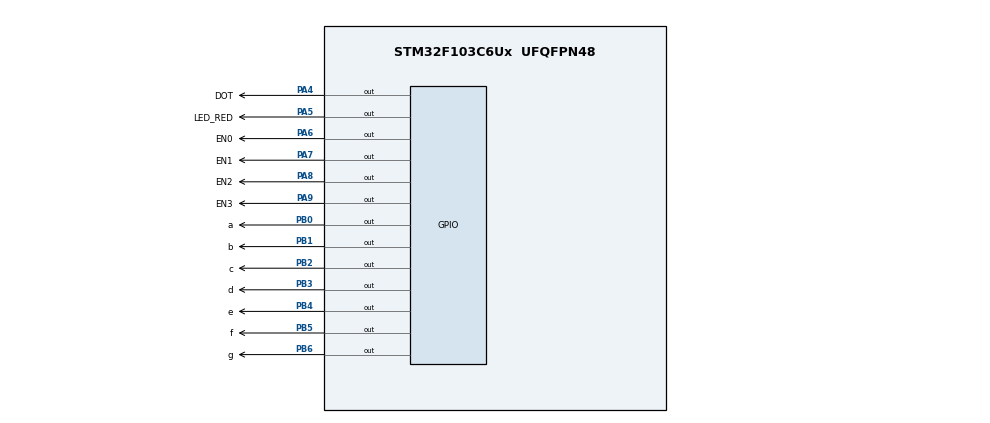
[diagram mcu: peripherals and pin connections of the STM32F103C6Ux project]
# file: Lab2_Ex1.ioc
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Mcu.Family=STM32F1
Mcu.Name=STM32F103C6Ux
Mcu.Package=UFQFPN48
NVIC.PriorityGroup=NVIC_PRIORITYGROUP_4
NVIC.TIM2_IRQn=true\:0\:0\:false\:false\:true\:true\:true\:true
PA4.GPIO_Label=DOT
PA4.Signal=GPIO_Output
PA5.GPIO_Label=LED_RED
PA5.Signal=GPIO_Output
PA6.GPIO_Label=EN0
PA6.Signal=GPIO_Output
PA7.GPIO_Label=EN1
PA7.Signal=GPIO_Output
PA8.GPIO_Label=EN2
PA8.Signal=GPIO_Output
PA9.GPIO_Label=EN3
PA9.Signal=GPIO_Output
PB0.GPIO_Label=a
PB0.Signal=GPIO_Output
PB1.GPIO_Label=b
PB1.Signal=GPIO_Output
PB2.GPIO_Label=c
PB2.Signal=GPIO_Output
PB3.GPIO_Label=d
PB3.Signal=GPIO_Output
PB4.GPIO_Label=e
PB4.Signal=GPIO_Output
PB5.GPIO_Label=f
PB5.Signal=GPIO_Output
PB6.GPIO_Label=g
PB6.Signal=GPIO_Output
ProjectManager.HeapSize=0x200
ProjectManager.StackSize=0x400
ProjectManager.TargetToolchain=STM32CubeIDE
RCC.APB1Freq_Value=8000000
RCC.APB2Freq_Value=8000000
TIM2.Period=9
TIM2.Prescaler=7999
VP_SYS_VS_ND.Mode=No_Debug
VP_TIM2_VS_ClockSourceINT.Mode=Internal
board=custom

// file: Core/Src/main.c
/* USER CODE BEGIN Header */
/**
  ******************************************************************************
  * @file           : main.c
  * @brief          : Main program body
  ******************************************************************************
  * @attention
  *
  * Copyright (c) 2024 STMicroelectronics.
  * All rights reserved.
  *
  * This software is licensed under terms that can be found in the LICENSE file
  * in the root directory of this software component.
  * If no LICENSE file comes with this software, it is provided AS-IS.
  *
  ******************************************************************************
  */
/* USER CODE END Header */
#include "main.h"

TIM_HandleTypeDef htim2;

void SystemClock_Config(void);
static void MX_GPIO_Init(void);
static void MX_TIM2_Init(void);

/* USER CODE BEGIN PFP */
int timer_flag[10];
int timer_counter[10];
void set_timer(int index, int counter)
{
	timer_flag[index] = 0;
	timer_counter[index] = counter/TICK;
}
void timer_run()
{
	for (int i = 0; i < 10; i++)
	{
		if (timer_counter[i] >= 0)
		{
			timer_counter[i]--;
			if (timer_counter[i] <= 0)
			{
				timer_flag[i] = 1;
			}
		}
	}
}
void timer_isr()
{
	timer_run();
}
void display7SEG(int num)
{
	if (num == 0)
	{
		HAL_GPIO_WritePin ( a_GPIO_Port , a_Pin ,GPIO_PIN_RESET ) ;
		HAL_GPIO_WritePin ( b_GPIO_Port , b_Pin ,GPIO_PIN_RESET ) ;
		HAL_GPIO_WritePin ( c_GPIO_Port , c_Pin ,GPIO_PIN_RESET ) ;
		HAL_GPIO_WritePin ( d_GPIO_Port , d_Pin ,GPIO_PIN_RESET ) ;
		HAL_GPIO_WritePin ( e_GPIO_Port , e_Pin ,GPIO_PIN_RESET ) ;
		HAL_GPIO_WritePin ( f_GPIO_Port , f_Pin ,GPIO_PIN_RESET ) ;
		HAL_GPIO_WritePin ( g_GPIO_Port , g_Pin ,GPIO_PIN_SET ) ;
	}
	if (num == 1)
	{
		HAL_GPIO_WritePin ( a_GPIO_Port , a_Pin ,GPIO_PIN_SET ) ;
		HAL_GPIO_WritePin ( b_GPIO_Port , b_Pin ,GPIO_PIN_RESET ) ;
		HAL_GPIO_WritePin ( c_GPIO_Port , c_Pin ,GPIO_PIN_RESET ) ;
		HAL_GPIO_WritePin ( d_GPIO_Port , d_Pin ,GPIO_PIN_SET ) ;
		HAL_GPIO_WritePin ( e_GPIO_Port , e_Pin ,GPIO_PIN_SET ) ;
		HAL_GPIO_WritePin ( f_GPIO_Port , f_Pin ,GPIO_PIN_SET ) ;
		HAL_GPIO_WritePin ( g_GPIO_Port , g_Pin ,GPIO_PIN_SET ) ;
	}
	if (num == 2)
	{
		HAL_GPIO_WritePin ( a_GPIO_Port , a_Pin ,GPIO_PIN_RESET ) ;
		HAL_GPIO_WritePin ( b_GPIO_Port , b_Pin ,GPIO_PIN_RESET ) ;
		HAL_GPIO_WritePin ( c_GPIO_Port , c_Pin ,GPIO_PIN_SET ) ;
		HAL_GPIO_WritePin ( d_GPIO_Port , d_Pin ,GPIO_PIN_RESET ) ;
		HAL_GPIO_WritePin ( e_GPIO_Port , e_Pin ,GPIO_PIN_RESET ) ;
		HAL_GPIO_WritePin ( f_GPIO_Port , f_Pin ,GPIO_PIN_SET ) ;
		HAL_GPIO_WritePin ( g_GPIO_Port , g_Pin ,GPIO_PIN_RESET ) ;
	}
	if (num == 3)
	{
		HAL_GPIO_WritePin ( a_GPIO_Port , a_Pin ,GPIO_PIN_RESET ) ;
		HAL_GPIO_WritePin ( b_GPIO_Port , b_Pin ,GPIO_PIN_RESET ) ;
		HAL_GPIO_WritePin ( c_GPIO_Port , c_Pin ,GPIO_PIN_RESET ) ;
		HAL_GPIO_WritePin ( d_GPIO_Port , d_Pin ,GPIO_PIN_RESET ) ;
		HAL_GPIO_WritePin ( e_GPIO_Port , e_Pin ,GPIO_PIN_SET ) ;
		HAL_GPIO_WritePin ( f_GPIO_Port , f_Pin ,GPIO_PIN_SET ) ;
		HAL_GPIO_WritePin ( g_GPIO_Port , g_Pin ,GPIO_PIN_RESET ) ;
	}
	if (num == 4)
	{
		HAL_GPIO_WritePin ( a_GPIO_Port , a_Pin ,GPIO_PIN_SET ) ;
		HAL_GPIO_WritePin ( b_GPIO_Port , b_Pin ,GPIO_PIN_RESET ) ;
		HAL_GPIO_WritePin ( c_GPIO_Port , c_Pin ,GPIO_PIN_RESET ) ;
		HAL_GPIO_WritePin ( d_GPIO_Port , d_Pin ,GPIO_PIN_SET ) ;
		HAL_GPIO_WritePin ( e_GPIO_Port , e_Pin ,GPIO_PIN_SET ) ;
		HAL_GPIO_WritePin ( f_GPIO_Port , f_Pin ,GPIO_PIN_RESET ) ;
		HAL_GPIO_WritePin ( g_GPIO_Port , g_Pin ,GPIO_PIN_RESET ) ;
	}
	if (num == 5)
	{
		HAL_GPIO_WritePin ( a_GPIO_Port , a_Pin ,GPIO_PIN_RESET ) ;
		HAL_GPIO_WritePin ( b_GPIO_Port , b_Pin ,GPIO_PIN_SET ) ;
		HAL_GPIO_WritePin ( c_GPIO_Port , c_Pin ,GPIO_PIN_RESET ) ;
		HAL_GPIO_WritePin ( d_GPIO_Port , d_Pin ,GPIO_PIN_RESET ) ;
		HAL_GPIO_WritePin ( e_GPIO_Port , e_Pin ,GPIO_PIN_SET ) ;
		HAL_GPIO_WritePin ( f_GPIO_Port , f_Pin ,GPIO_PIN_RESET ) ;
		HAL_GPIO_WritePin ( g_GPIO_Port , g_Pin ,GPIO_PIN_RESET ) ;
	}
	if (num == 6)
	{
		HAL_GPIO_WritePin ( a_GPIO_Port , a_Pin ,GPIO_PIN_RESET ) ;
		HAL_GPIO_WritePin ( b_GPIO_Port , b_Pin ,GPIO_PIN_SET ) ;
		HAL_GPIO_WritePin ( c_GPIO_Port , c_Pin ,GPIO_PIN_RESET ) ;
		HAL_GPIO_WritePin ( d_GPIO_Port , d_Pin ,GPIO_PIN_RESET ) ;
		HAL_GPIO_WritePin ( e_GPIO_Port , e_Pin ,GPIO_PIN_RESET ) ;
		HAL_GPIO_WritePin ( f_GPIO_Port , f_Pin ,GPIO_PIN_RESET ) ;
		HAL_GPIO_WritePin ( g_GPIO_Port , g_Pin ,GPIO_PIN_RESET ) ;
	}
	if (num == 7)
	{
		HAL_GPIO_WritePin ( a_GPIO_Port , a_Pin ,GPIO_PIN_RESET ) ;
		HAL_GPIO_WritePin ( b_GPIO_Port , b_Pin ,GPIO_PIN_RESET ) ;
		HAL_GPIO_WritePin ( c_GPIO_Port , c_Pin ,GPIO_PIN_RESET ) ;
		HAL_GPIO_WritePin ( d_GPIO_Port , d_Pin ,GPIO_PIN_SET ) ;
		HAL_GPIO_WritePin ( e_GPIO_Port , e_Pin ,GPIO_PIN_SET ) ;
		HAL_GPIO_WritePin ( f_GPIO_Port , f_Pin ,GPIO_PIN_SET ) ;
		HAL_GPIO_WritePin ( g_GPIO_Port , g_Pin ,GPIO_PIN_SET ) ;
	}
	if (num == 8)
	{
		HAL_GPIO_WritePin ( a_GPIO_Port , a_Pin ,GPIO_PIN_RESET ) ;
		HAL_GPIO_WritePin ( b_GPIO_Port , b_Pin ,GPIO_PIN_RESET ) ;
		HAL_GPIO_WritePin ( c_GPIO_Port , c_Pin ,GPIO_PIN_RESET ) ;
		HAL_GPIO_WritePin ( d_GPIO_Port , d_Pin ,GPIO_PIN_RESET ) ;
		HAL_GPIO_WritePin ( e_GPIO_Port , e_Pin ,GPIO_PIN_RESET ) ;
		HAL_GPIO_WritePin ( f_GPIO_Port , f_Pin ,GPIO_PIN_RESET ) ;
		HAL_GPIO_WritePin ( g_GPIO_Port , g_Pin ,GPIO_PIN_RESET ) ;
	}
	if (num == 9)
	{
		HAL_GPIO_WritePin ( a_GPIO_Port , a_Pin ,GPIO_PIN_RESET ) ;
		HAL_GPIO_WritePin ( b_GPIO_Port , b_Pin ,GPIO_PIN_RESET ) ;
		HAL_GPIO_WritePin ( c_GPIO_Port , c_Pin ,GPIO_PIN_RESET ) ;
		HAL_GPIO_WritePin ( d_GPIO_Port , d_Pin ,GPIO_PIN_RESET ) ;
		HAL_GPIO_WritePin ( e_GPIO_Port , e_Pin ,GPIO_PIN_SET ) ;
		HAL_GPIO_WritePin ( f_GPIO_Port , f_Pin ,GPIO_PIN_RESET ) ;
		HAL_GPIO_WritePin ( g_GPIO_Port , g_Pin ,GPIO_PIN_RESET ) ;
	}
}

/* USER CODE END PFP */

int main(void)
{

  /* MCU Configuration--------------------------------------------------------*/

  /* Reset of all peripherals, Initializes the Flash interface and the Systick. */
  HAL_Init();

  /* Configure the system clock */
  SystemClock_Config();

  /* Initialize all configured peripherals */
  MX_GPIO_Init();
  MX_TIM2_Init();
  /* USER CODE BEGIN 2 */
  HAL_TIM_Base_Start_IT (& htim2 ) ;
  /* USER CODE END 2 */

  /* Infinite loop */
  /* USER CODE BEGIN WHILE */
  set_timer(0, 1);
  set_timer(1, 2);
  set_timer(2, 3);
  set_timer(3, 4);

  int num = 0;
  int sec = 0;
  int min = 30;
  int hour = 12;

  while (1)
  {
	  if(timer_flag[0] == 1)
	  {
		  HAL_GPIO_TogglePin(GPIOA, GPIO_PIN_5);
		  set_timer(0, 500);
	  }
	  if(timer_flag[1] == 1)
	  {
		  HAL_GPIO_TogglePin(GPIOA, GPIO_PIN_4);
		  set_timer(1, 1000);
	  }
	  if(timer_flag[2] == 1)
	  {
		  switch (num++)
		  {
		  	  case 0:
		  		  HAL_GPIO_WritePin(EN0_GPIO_Port, EN0_Pin, GPIO_PIN_RESET);
		  		  HAL_GPIO_WritePin(EN1_GPIO_Port, EN1_Pin, GPIO_PIN_SET);
		  		  HAL_GPIO_WritePin(EN2_GPIO_Port, EN2_Pin, GPIO_PIN_SET);
		  		  HAL_GPIO_WritePin(EN3_GPIO_Port, EN3_Pin, GPIO_PIN_SET);
		  		  display7SEG(hour / 10);
		  		  break;
		  	  case 1:
		  		  HAL_GPIO_WritePin(EN0_GPIO_Port, EN0_Pin, GPIO_PIN_SET);
		  		  HAL_GPIO_WritePin(EN1_GPIO_Port, EN1_Pin, GPIO_PIN_RESET);
		  		  HAL_GPIO_WritePin(EN2_GPIO_Port, EN2_Pin, GPIO_PIN_SET);
		  		  HAL_GPIO_WritePin(EN3_GPIO_Port, EN3_Pin, GPIO_PIN_SET);
		  		  display7SEG(hour % 10);
		  		  break;
		  	  case 2:
		  		  HAL_GPIO_WritePin(EN0_GPIO_Port, EN0_Pin, GPIO_PIN_SET);
		  		  HAL_GPIO_WritePin(EN1_GPIO_Port, EN1_Pin, GPIO_PIN_SET);
		  		  HAL_GPIO_WritePin(EN2_GPIO_Port, EN2_Pin, GPIO_PIN_RESET);
		  		  HAL_GPIO_WritePin(EN3_GPIO_Port, EN3_Pin, GPIO_PIN_SET);
		  		  display7SEG(min / 10);
		  		  break;
		  	  case 3:
		  		  HAL_GPIO_WritePin(EN0_GPIO_Port, EN0_Pin, GPIO_PIN_SET);
		  		  HAL_GPIO_WritePin(EN1_GPIO_Port, EN1_Pin, GPIO_PIN_SET);
		  		  HAL_GPIO_WritePin(EN2_GPIO_Port, EN2_Pin, GPIO_PIN_SET);
		  		  HAL_GPIO_WritePin(EN3_GPIO_Port, EN3_Pin, GPIO_PIN_RESET);
		  		  display7SEG(min % 10);
		  		  num = 0;
		  		  break;
		  	  default:
		  		  break;
		  }
		  set_timer(2, 100);
	  }
	  if (timer_flag[3] == 1)
	  {
		  sec++;
		  if (sec == 60)
		  {
			  sec = 0;
			  min++;
		  }
		  if (min == 60)
		  {
			  min = 0;
			  hour++;
		  }
		  if (hour == 24)
		  {
			  hour = 0;
		  }
		  set_timer(3, 1000);
	  }
	  /* USER CODE END WHILE */

  }
}

void SystemClock_Config(void)
{
  RCC_OscInitTypeDef RCC_OscInitStruct = {0};
  RCC_ClkInitTypeDef RCC_ClkInitStruct = {0};

  /** Initializes the RCC Oscillators according to the specified parameters
  * in the RCC_OscInitTypeDef structure.
  */
  RCC_OscInitStruct.OscillatorType = RCC_OSCILLATORTYPE_HSI;
  RCC_OscInitStruct.HSIState = RCC_HSI_ON;
  RCC_OscInitStruct.HSICalibrationValue = RCC_HSICALIBRATION_DEFAULT;
  RCC_OscInitStruct.PLL.PLLState = RCC_PLL_NONE;
  if (HAL_RCC_OscConfig(&RCC_OscInitStruct) != HAL_OK)
  {
    Error_Handler();
  }

  /** Initializes the CPU, AHB and APB buses clocks
  */
  RCC_ClkInitStruct.ClockType = RCC_CLOCKTYPE_HCLK|RCC_CLOCKTYPE_SYSCLK
                              |RCC_CLOCKTYPE_PCLK1|RCC_CLOCKTYPE_PCLK2;
  RCC_ClkInitStruct.SYSCLKSource = RCC_SYSCLKSOURCE_HSI;
  RCC_ClkInitStruct.AHBCLKDivider = RCC_SYSCLK_DIV1;
  RCC_ClkInitStruct.APB1CLKDivider = RCC_HCLK_DIV1;
  RCC_ClkInitStruct.APB2CLKDivider = RCC_HCLK_DIV1;

  if (HAL_RCC_ClockConfig(&RCC_ClkInitStruct, FLASH_LATENCY_0) != HAL_OK)
  {
    Error_Handler();
  }
}

static void MX_TIM2_Init(void)
{

  TIM_ClockConfigTypeDef sClockSourceConfig = {0};
  TIM_MasterConfigTypeDef sMasterConfig = {0};

  htim2.Instance = TIM2;
  htim2.Init.Prescaler = 7999;
  htim2.Init.CounterMode = TIM_COUNTERMODE_UP;
  htim2.Init.Period = 9;
  htim2.Init.ClockDivision = TIM_CLOCKDIVISION_DIV1;
  htim2.Init.AutoReloadPreload = TIM_AUTORELOAD_PRELOAD_DISABLE;
  if (HAL_TIM_Base_Init(&htim2) != HAL_OK)
  {
    Error_Handler();
  }
  sClockSourceConfig.ClockSource = TIM_CLOCKSOURCE_INTERNAL;
  if (HAL_TIM_ConfigClockSource(&htim2, &sClockSourceConfig) != HAL_OK)
  {
    Error_Handler();
  }
  sMasterConfig.MasterOutputTrigger = TIM_TRGO_RESET;
  sMasterConfig.MasterSlaveMode = TIM_MASTERSLAVEMODE_DISABLE;
  if (HAL_TIMEx_MasterConfigSynchronization(&htim2, &sMasterConfig) != HAL_OK)
  {
    Error_Handler();
  }

}

static void MX_GPIO_Init(void)
{
  GPIO_InitTypeDef GPIO_InitStruct = {0};

  /* GPIO Ports Clock Enable */
  __HAL_RCC_GPIOA_CLK_ENABLE();
  __HAL_RCC_GPIOB_CLK_ENABLE();

  /*Configure GPIO pin Output Level */
  HAL_GPIO_WritePin(GPIOA, DOT_Pin|LED_RED_Pin|EN0_Pin|EN1_Pin
                          |EN2_Pin|EN3_Pin, GPIO_PIN_RESET);

  /*Configure GPIO pin Output Level */
  HAL_GPIO_WritePin(GPIOB, a_Pin|b_Pin|c_Pin|d_Pin
                          |e_Pin|f_Pin|g_Pin, GPIO_PIN_RESET);

  /*Configure GPIO pins : DOT_Pin LED_RED_Pin EN0_Pin EN1_Pin
                           EN2_Pin EN3_Pin */
  GPIO_InitStruct.Pin = DOT_Pin|LED_RED_Pin|EN0_Pin|EN1_Pin
                          |EN2_Pin|EN3_Pin;
  GPIO_InitStruct.Mode = GPIO_MODE_OUTPUT_PP;
  GPIO_InitStruct.Pull = GPIO_NOPULL;
  GPIO_InitStruct.Speed = GPIO_SPEED_FREQ_LOW;
  HAL_GPIO_Init(GPIOA, &GPIO_InitStruct);

  /*Configure GPIO pins : a_Pin b_Pin c_Pin d_Pin
                           e_Pin f_Pin g_Pin */
  GPIO_InitStruct.Pin = a_Pin|b_Pin|c_Pin|d_Pin
                          |e_Pin|f_Pin|g_Pin;
  GPIO_InitStruct.Mode = GPIO_MODE_OUTPUT_PP;
  GPIO_InitStruct.Pull = GPIO_NOPULL;
  GPIO_InitStruct.Speed = GPIO_SPEED_FREQ_LOW;
  HAL_GPIO_Init(GPIOB, &GPIO_InitStruct);

}

/* USER CODE BEGIN 4 */
//int num = 1;
void HAL_TIM_PeriodElapsedCallback ( TIM_HandleTypeDef * htim )
{
	timer_run();
}
/* USER CODE END 4 */

void Error_Handler(void)
{
  __disable_irq();
  while (1)
  {
  }
}
